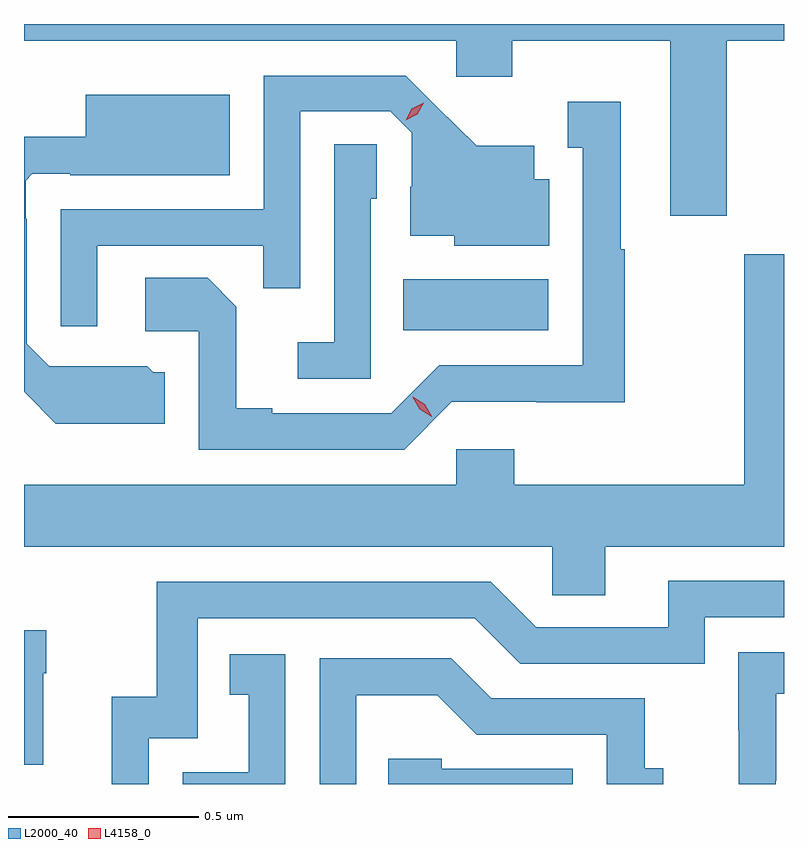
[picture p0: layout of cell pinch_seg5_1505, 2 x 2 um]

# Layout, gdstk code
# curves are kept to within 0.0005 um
import gdstk
lib = gdstk.Library(unit=1e-6, precision=1e-09)
def R(c, l, rs):  # rectangles x0, y0, x1, y1
    for r in rs: c.add(gdstk.rectangle(r[:2], r[2:], *l))
def P(c, l, *ps):  # polygons
    for p in ps: c.add(gdstk.Polygon(p, *l))
L2000_40 = (2000, 40)
L4158_0 = (4158, 0)

pinch_seg5_1505 = lib.new_cell('pinch_seg5_1505')
R(pinch_seg5_1505, L2000_40, [(127.378,883.97,127.759,884.104)])
P(pinch_seg5_1505, L2000_40, [(128.229,884.732),(128.38,884.732),(128.38,884.776),(126.38,884.776),(126.38,884.732),(127.518,884.732),(127.518,884.637),(127.665,884.637),(127.665,884.732),(128.081,884.732),(128.081,884.271),(128.229,884.271)],
  [(126.573,884.193),(127.009,884.193),(127.009,884.08),(127.107,884.08),(127.107,884.547),(127.344,884.547),(127.401,884.49),(127.401,884.348),(127.397,884.348),(127.397,884.219),(127.512,884.219),(127.512,884.192),(127.762,884.192),(127.762,884.368),(127.723,884.368),(127.723,884.455),(127.571,884.455),(127.384,884.64),(127.011,884.64),(127.011,884.289),(126.477,884.289),(126.477,883.98),(126.573,883.98)],
  [(126.751,883.86),(126.72,883.86),(126.704,883.876),(126.57,883.876),(126.57,883.875),(126.447,883.875),(126.387,883.935),(126.387,884.264),(126.384,884.264),(126.384,884.364),(126.402,884.382),(126.502,884.382),(126.502,884.378),(126.922,884.378),(126.922,884.59),(126.542,884.59),(126.542,884.479),(126.38,884.479),(126.38,883.808),(126.463,883.724),(126.751,883.724)],
  [(127.506,883.782),(127.728,883.782),(127.728,883.781),(127.961,883.781),(127.961,884.183),(127.951,884.183),(127.951,884.572),(127.811,884.572),(127.811,884.451),(127.85,884.451),(127.85,883.878),(127.473,883.878),(127.347,883.752),(127.033,883.752),(127.033,883.765),(126.939,883.765),(126.939,884.032),(126.863,884.108),(126.699,884.108),(126.699,883.968),(126.84,883.968),(126.84,883.656),(127.38,883.656)],
  [(127.293,884.316),(127.308,884.316),(127.308,884.459),(127.197,884.459),(127.197,883.939),(127.101,883.939),(127.101,883.842),(127.293,883.842)],
  [(127.909,883.4),(128.38,883.4),(128.38,884.17),(128.276,884.17),(128.276,883.564),(127.67,883.564),(127.67,883.657),(127.518,883.657),(127.518,883.564),(126.38,883.564),(126.38,883.4),(127.77,883.4),(127.77,883.273),(127.909,883.273)],
  [(126.708,882.897),(126.837,882.897),(126.837,883.212),(127.566,883.212),(127.686,883.092),(128.172,883.092),(128.172,883.215),(128.38,883.215),(128.38,883.311),(128.075,883.311),(128.075,883.188),(127.728,883.188),(127.608,883.308),(126.729,883.308),(126.729,883.006),(126.611,883.006),(126.611,882.776),(126.708,882.776)],
  [(126.43,883.067),(126.438,883.067),(126.438,883.18),(126.38,883.18),(126.38,882.827),(126.43,882.827)],
  [(128.358,882.785),(128.36,882.785),(128.36,883.013),(128.38,883.013),(128.38,883.123),(128.26,883.123),(128.26,882.917),(128.261,882.917),(128.261,882.776),(128.358,882.776)],
  [(127.068,883.117),(126.922,883.117),(126.922,883.011),(126.971,883.011),(126.971,882.807),(126.798,882.807),(126.798,882.776),(127.068,882.776)],
  [(127.254,883.01),(127.468,883.01),(127.572,882.906),(127.914,882.906),(127.914,882.776),(128.062,882.776),(128.062,882.817),(128.013,882.817),(128.013,883.002),(127.609,883.002),(127.504,883.107),(127.158,883.107),(127.158,882.776),(127.254,882.776)],
  [(127.824,882.816),(127.479,882.816),(127.479,882.843),(127.339,882.843),(127.339,882.776),(127.824,882.776)])
P(pinch_seg5_1505, L4158_0, [(127.453,883.743),(127.421,883.762),(127.403,883.794),(127.403,883.795),(127.403,883.795),(127.435,883.776),(127.453,883.744),(127.453,883.743)],
  [(127.384,884.523),(127.384,884.523),(127.401,884.553),(127.432,884.569),(127.432,884.569),(127.432,884.569),(127.415,884.539),(127.385,884.523)])

lib.write_gds('pinch_seg5_1505.gds')
